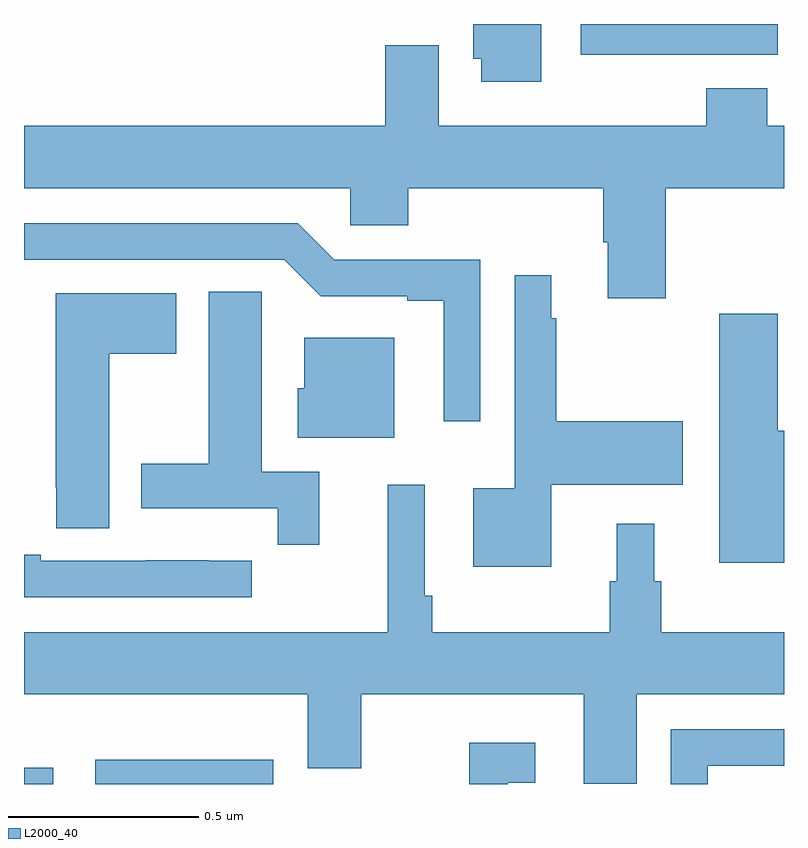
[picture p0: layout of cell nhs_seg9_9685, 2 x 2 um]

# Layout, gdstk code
import gdstk
lib = gdstk.Library(unit=1e-6, precision=1e-09)
def R(c, l, rs):  # rectangles x0, y0, x1, y1
    for r in rs: c.add(gdstk.rectangle(r[:2], r[2:], *l))
def P(c, l, *ps):  # polygons
    for p in ps: c.add(gdstk.Polygon(p, *l))
L2000_40 = (2000, 40)

nhs_seg9_9685 = lib.new_cell('nhs_seg9_9685')
R(nhs_seg9_9685, L2000_40, [(233,1213.5,233.077,1213.543), (233.187,1213.5,233.656,1213.564), (234.465,1215.419,234.983,1215.5)])
P(nhs_seg9_9685, L2000_40, [(234.361,1215.5),(234.182,1215.5),(234.182,1215.408),(234.203,1215.408),(234.203,1215.348),(234.361,1215.348)],
  [(234.689,1215.068),(235,1215.068),(235,1215.232),(234.956,1215.232),(234.956,1215.331),(234.796,1215.331),(234.796,1215.232),(234.091,1215.232),(234.091,1215.444),(233.951,1215.444),(233.951,1215.232),(233,1215.232),(233,1215.068),(233.859,1215.068),(233.859,1214.97),(234.011,1214.97),(234.011,1215.068),(234.524,1215.068),(234.524,1214.926),(234.536,1214.926),(234.536,1214.778),(234.689,1214.778)],
  [(234.201,1214.88),(233.817,1214.88),(233.721,1214.976),(233,1214.976),(233,1214.88),(233.685,1214.88),(233.781,1214.784),(234.008,1214.784),(234.008,1214.772),(234.104,1214.772),(234.104,1214.454),(234.201,1214.454)],
  [(234.388,1214.288),(234.733,1214.288),(234.733,1214.454),(234.4,1214.454),(234.4,1214.726),(234.388,1214.726),(234.388,1214.839),(234.291,1214.839),(234.291,1214.278),(234.182,1214.278),(234.182,1214.072),(234.388,1214.072)],
  [(233.777,1214.322),(233.626,1214.322),(233.626,1214.684),(233.625,1214.684),(233.625,1214.795),(233.486,1214.795),(233.486,1214.343),(233.309,1214.343),(233.309,1214.226),(233.668,1214.226),(233.668,1214.13),(233.777,1214.13)],
  [(233.224,1214.632),(233.401,1214.632),(233.401,1214.791),(233.084,1214.791),(233.084,1214.281),(233.085,1214.281),(233.085,1214.173),(233.224,1214.173)],
  [(235,1214.43),(234.983,1214.43),(234.983,1214.737),(234.829,1214.737),(234.829,1214.542),(234.83,1214.542),(234.83,1214.082),(235,1214.082)],
  [(233.974,1214.674),(233.738,1214.674),(233.738,1214.541),(233.72,1214.541),(233.72,1214.411),(233.974,1214.411)],
  [(234.613,1213.736),(235,1213.736),(235,1213.9),(234.677,1213.9),(234.677,1214.034),(234.658,1214.034),(234.658,1214.185),(234.56,1214.185),(234.56,1214.034),(234.541,1214.034),(234.541,1213.9),(234.074,1213.9),(234.074,1213.996),(234.054,1213.996),(234.054,1214.287),(233.957,1214.287),(233.957,1213.9),(233,1213.9),(233,1213.736),(233.747,1213.736),(233.747,1213.542),(233.887,1213.542),(233.887,1213.736),(234.473,1213.736),(234.473,1213.501),(234.613,1213.501)],
  [(233.599,1214.088),(233.486,1214.088),(233.486,1214.089),(233.32,1214.089),(233.32,1214.088),(233.044,1214.088),(233.044,1214.103),(233,1214.103),(233,1213.992),(233.599,1213.992)],
  [(234.799,1213.548),(235,1213.548),(235,1213.644),(234.702,1213.644),(234.702,1213.5),(234.799,1213.5)],
  [(234.273,1213.503),(234.346,1213.503),(234.346,1213.609),(234.172,1213.609),(234.172,1213.5),(234.273,1213.5)])

lib.write_gds('nhs_seg9_9685.gds')
